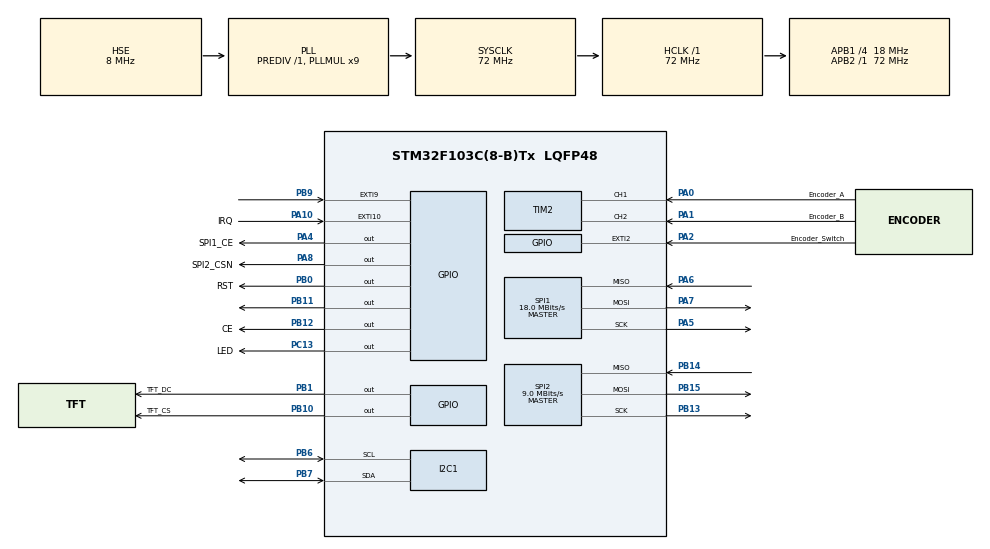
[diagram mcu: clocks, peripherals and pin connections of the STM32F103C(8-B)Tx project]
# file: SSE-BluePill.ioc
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I2C1.I2C_Mode=I2C_Fast
Mcu.Family=STM32F1
Mcu.Name=STM32F103C(8-B)Tx
Mcu.Package=LQFP48
NVIC.EXTI15_10_IRQn=true\:0\:0\:false\:false\:true\:true\:true\:true
NVIC.EXTI2_IRQn=true\:0\:0\:false\:false\:true\:true\:true\:true
NVIC.EXTI9_5_IRQn=true\:0\:0\:false\:false\:true\:true\:true\:true
NVIC.PriorityGroup=NVIC_PRIORITYGROUP_4
NVIC.TIM2_IRQn=true\:0\:0\:false\:false\:true\:true\:true\:true
NVIC.TIM3_IRQn=true\:0\:0\:true\:false\:true\:true\:true\:true
NVIC.TIM4_IRQn=true\:0\:0\:false\:false\:true\:true\:true\:true
PA0-WKUP.GPIO_Label=Encoder_A
PA0-WKUP.GPIO_PuPd=GPIO_PULLUP
PA0-WKUP.Signal=S_TIM2_CH1_ETR
PA1.GPIO_Label=Encoder_B
PA1.GPIO_PuPd=GPIO_PULLUP
PA1.Signal=S_TIM2_CH2
PA10.GPIO_Label=IRQ
PA10.GPIO_ModeDefaultEXTI=GPIO_MODE_IT_FALLING
PA10.Signal=GPXTI10
PA13.Mode=Serial_Wire
PA13.Signal=SYS_JTMS-SWDIO
PA14.Mode=Serial_Wire
PA14.Signal=SYS_JTCK-SWCLK
PA2.GPIO_Label=Encoder_Switch
PA2.GPIO_ModeDefaultEXTI=GPIO_MODE_IT_RISING_FALLING
PA2.GPIO_PuPd=GPIO_PULLUP
PA2.Signal=GPXTI2
PA4.GPIO_Label=SPI1_CE
PA4.GPIO_Speed=GPIO_SPEED_FREQ_HIGH
PA4.Signal=GPIO_Output
PA5.Mode=Full_Duplex_Master
PA5.Signal=SPI1_SCK
PA6.Mode=Full_Duplex_Master
PA6.Signal=SPI1_MISO
PA7.Mode=Full_Duplex_Master
PA7.Signal=SPI1_MOSI
PA8.GPIO_Label=SPI2_CSN
PA8.GPIO_Speed=GPIO_SPEED_FREQ_HIGH
PA8.PinState=GPIO_PIN_SET
PA8.Signal=GPIO_Output
PB0.GPIO_Label=RST
PB0.GPIO_Speed=GPIO_SPEED_FREQ_HIGH
PB0.PinState=GPIO_PIN_SET
PB0.Signal=GPIO_Output
PB1.GPIO_Label=TFT_DC
PB1.Signal=GPIO_Output
PB10.GPIO_Label=TFT_CS
PB10.Signal=GPIO_Output
PB11.GPIO_PuPd=GPIO_NOPULL
PB11.Signal=GPIO_Output
PB12.GPIO_Label=CE
PB12.GPIO_Speed=GPIO_SPEED_FREQ_HIGH
PB12.Signal=GPIO_Output
PB13.Mode=Full_Duplex_Master
PB13.Signal=SPI2_SCK
PB14.Mode=Full_Duplex_Master
PB14.Signal=SPI2_MISO
PB15.Mode=Full_Duplex_Master
PB15.Signal=SPI2_MOSI
PB6.Mode=I2C
PB6.Signal=I2C1_SCL
PB7.Mode=I2C
PB7.Signal=I2C1_SDA
PB9.GPIO_ModeDefaultEXTI=GPIO_MODE_IT_RISING_FALLING
PB9.Signal=GPXTI9
PC13-TAMPER-RTC.GPIO_Label=LED
PC13-TAMPER-RTC.Signal=GPIO_Output
PC14-OSC32_IN.Mode=LSE-External-Oscillator
PC14-OSC32_IN.Signal=RCC_OSC32_IN
PC15-OSC32_OUT.Mode=LSE-External-Oscillator
PC15-OSC32_OUT.Signal=RCC_OSC32_OUT
PD0-OSC_IN.Mode=HSE-External-Oscillator
PD0-OSC_IN.Signal=RCC_OSC_IN
PD1-OSC_OUT.Mode=HSE-External-Oscillator
PD1-OSC_OUT.Signal=RCC_OSC_OUT
ProjectManager.HeapSize=0x200
ProjectManager.StackSize=0x400
ProjectManager.TargetToolchain=STM32CubeIDE
RCC.AHBFreq_Value=72000000
RCC.APB1CLKDivider=RCC_HCLK_DIV4
RCC.APB1Freq_Value=18000000
RCC.APB1TimFreq_Value=36000000
RCC.APB2Freq_Value=72000000
RCC.APB2TimFreq_Value=72000000
RCC.HCLKFreq_Value=72000000
RCC.PLLMUL=RCC_PLL_MUL9
RCC.PLLSourceVirtual=RCC_PLLSOURCE_HSE
RCC.RTCClockSelection=RCC_RTCCLKSOURCE_LSE
RCC.SYSCLKFreq_VALUE=72000000
RCC.SYSCLKSource=RCC_SYSCLKSOURCE_PLLCLK
RCC.USBFreq_Value=72000000
SH.S_TIM2_CH1_ETR.0=TIM2_CH1,Encoder_Interface
SH.S_TIM2_CH2.0=TIM2_CH2,Encoder_Interface
SPI1.BaudRatePrescaler=SPI_BAUDRATEPRESCALER_4
SPI1.CalculateBaudRate=18.0 MBits/s
SPI1.Direction=SPI_DIRECTION_2LINES
SPI1.Mode=SPI_MODE_MASTER
SPI1.VirtualType=VM_MASTER
SPI2.CalculateBaudRate=9.0 MBits/s
SPI2.Direction=SPI_DIRECTION_2LINES
SPI2.Mode=SPI_MODE_MASTER
SPI2.VirtualType=VM_MASTER
TIM2.AutoReloadPreload=TIM_AUTORELOAD_PRELOAD_ENABLE
TIM2.EncoderMode=TIM_ENCODERMODE_TI12
TIM2.IC1Filter=10
TIM2.IC1Polarity=TIM_ICPOLARITY_RISING
TIM2.IC2Polarity=TIM_ICPOLARITY_RISING
TIM3.Period=36000 - 1
TIM3.Prescaler=0
TIM4.Period=30000
TIM4.Prescaler=36000 - 1
VP_TIM3_VS_ClockSourceINT.Mode=Internal
VP_TIM4_VS_ClockSourceINT.Mode=Internal
board=custom

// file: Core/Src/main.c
/* USER CODE BEGIN Header */
/**
  ******************************************************************************
  * @file           : main.c
  * @brief          : Main program body
  ******************************************************************************
  * @attention
  *
  * Copyright (c) 2024 STMicroelectronics.
  * All rights reserved.
  *
  * This software is licensed under terms that can be found in the LICENSE file
  * in the root directory of this software component.
  * If no LICENSE file comes with this software, it is provided AS-IS.
  *
  ******************************************************************************
  */
/* USER CODE END Header */
#include "main.h"
#include "i2c.h"
#include "spi.h"
#include "tim.h"
#include "gpio.h"

/* USER CODE BEGIN Includes */

#include "defines.h"
/* USER CODE END Includes */

/* USER CODE BEGIN PV */

uint8_t sNum[5];
uint16_t button=0;
static uint16_t milliseconds=0;
/* USER CODE END PV */

void SystemClock_Config(void);
/* USER CODE BEGIN PFP */
void received_message();
/* USER CODE END PFP */

/* USER CODE BEGIN 0 */
boolean RetFalse(){
	return False;
}

extern uint8_t rfidSymbol_idx;
extern uint8_t motionSymbol_idx;
/* USER CODE END 0 */

int main(void)
{

  /* MCU Configuration--------------------------------------------------------*/

  /* Reset of all peripherals, Initializes the Flash interface and the Systick. */
  HAL_Init();

  /* Configure the system clock */
  SystemClock_Config();

  /* Initialize all configured peripherals */
  MX_GPIO_Init();
  MX_TIM2_Init();
  MX_I2C1_Init();
  MX_SPI2_Init();
  MX_SPI1_Init();
  MX_TIM3_Init();
  MX_TIM4_Init();
  /* USER CODE BEGIN 2 */
  BSP_LCD_SetupParams_TypeDef lcd_params;
//  lcd_params.condition = BSP_HCSR501_Ready;
//  lcd_params.setup_time = (uint8_t) HCSR501_SETUP_SECONDS + HCSR501_SETUP_MINUTES*60;
//  lcd_params.seconds = &motion[4];
  lcd_params.condition = RetFalse;
  lcd_params.setup_time = 0;
  lcd_params.seconds = 0;

  BSP_ENCODER_Init();
  BSP_RC522_Init();
  BSP_LCD_Init(&lcd_params);

  BSP_RF_Params_TypeDef rf_params = {0};
  rf_params.channel = NRF24L01P_CHANNEL;
  rf_params.rate = NRF24L01P_RATE;
  rf_params.retransmit_count = NRF24L01P_RETRANSMIT_COUNT;
  BSP_RF_Init(&rf_params);
  BSP_RF_Listening();
  HAL_GPIO_WritePin(GPIOC, LED_Pin, GPIO_PIN_SET);
  NVIC_ClearPendingIRQ(EXTI15_10_IRQn);

  app_init();
  /* USER CODE END 2 */

  /* Infinite loop */
  /* USER CODE BEGIN WHILE */
  while (1)
  {
	  app();
    /* USER CODE END WHILE */

  }
}

void SystemClock_Config(void)
{
  RCC_OscInitTypeDef RCC_OscInitStruct = {0};
  RCC_ClkInitTypeDef RCC_ClkInitStruct = {0};

  /** Initializes the RCC Oscillators according to the specified parameters
  * in the RCC_OscInitTypeDef structure.
  */
  RCC_OscInitStruct.OscillatorType = RCC_OSCILLATORTYPE_HSE;
  RCC_OscInitStruct.HSEState = RCC_HSE_ON;
  RCC_OscInitStruct.HSEPredivValue = RCC_HSE_PREDIV_DIV1;
  RCC_OscInitStruct.HSIState = RCC_HSI_ON;
  RCC_OscInitStruct.PLL.PLLState = RCC_PLL_ON;
  RCC_OscInitStruct.PLL.PLLSource = RCC_PLLSOURCE_HSE;
  RCC_OscInitStruct.PLL.PLLMUL = RCC_PLL_MUL9;
  if (HAL_RCC_OscConfig(&RCC_OscInitStruct) != HAL_OK)
  {
    Error_Handler();
  }

  /** Initializes the CPU, AHB and APB buses clocks
  */
  RCC_ClkInitStruct.ClockType = RCC_CLOCKTYPE_HCLK|RCC_CLOCKTYPE_SYSCLK
                              |RCC_CLOCKTYPE_PCLK1|RCC_CLOCKTYPE_PCLK2;
  RCC_ClkInitStruct.SYSCLKSource = RCC_SYSCLKSOURCE_PLLCLK;
  RCC_ClkInitStruct.AHBCLKDivider = RCC_SYSCLK_DIV1;
  RCC_ClkInitStruct.APB1CLKDivider = RCC_HCLK_DIV4;
  RCC_ClkInitStruct.APB2CLKDivider = RCC_HCLK_DIV1;

  if (HAL_RCC_ClockConfig(&RCC_ClkInitStruct, FLASH_LATENCY_2) != HAL_OK)
  {
    Error_Handler();
  }
}

/* USER CODE BEGIN 4 */

void received_message()
{
	if(!BSP_RF_IrqHandler())
		return;
	HAL_GPIO_TogglePin(GPIOD, LED_Pin);
	APP_SETFLAG(MESSAGE_RECEIVED, true);
	HAL_GPIO_TogglePin(GPIOD, LED_Pin);
}
void HAL_GPIO_EXTI_Callback(uint16_t GPIO_Pin)
{
	static uint32_t last_interrupt_time = 0;

	if(GPIO_Pin == HCSR501_PIN){
		if(BSP_HCSR501_Ready()){

			SET_FIELD(GET_APP_DATA(), motion_status, BSP_HCSR501_Read());
			if(!GET_APP_DATA()->motion_status){
				APP_SETFLAG(UPDATE_MOTION, True);
			}

//				HAL_TIM_Base_Start_IT(&htim4);
//				BSP_HCSR501_OffTime();
		}
	}

    if (GPIO_Pin == Encoder_Switch_Pin) {
        uint32_t current_time = HAL_GetTick();

        // Check if the debounce delay has passed
        if ((current_time - last_interrupt_time) >= DEBOUNCE_DELAY) {
            last_interrupt_time = current_time; // Update last interrupt time

            // Check the encoder switch state and update flags
            if (BSP_ENCODER_GetSwitch() == GPIO_PIN_SET) {
                APP_SETFLAG(BUTTON_PRESSED, True);
            } else {
                APP_SETFLAG(BUTTON_PRESSED, False);
            }
        }
    }

	if(GPIO_Pin == NRF24L01P_IRQ_PIN_NUMBER)
	{
		received_message();
	}
}

void HAL_TIM_PeriodElapsedCallback(TIM_HandleTypeDef *htim){

	if(htim == &htim4){
		BSP_HCSR501_Init();
		HAL_TIM_Base_Stop_IT(&htim4);
		return;
	}

	milliseconds++;
	static uint16_t seconds = 0;
	static uint16_t milliseconds2 = 0;
	static uint16_t minutes = 0;
	static boolean triggered = False;
	static uint16_t button_held_counter = 0;
	static uint16_t button_held_cooldown_timer = 0;
	milliseconds2++;
	seconds += milliseconds2 / 1000;
	milliseconds2 %= 1000;
	minutes = seconds / 60;
	seconds %= 60;
	if(minutes >= HCSR501_SETUP_MINUTES && seconds >= HCSR501_SETUP_SECONDS && !triggered){
		BSP_HCSR501_Init();
		triggered = True;
	}

	BSP_Countdown();
	if(BSP_GetCounter() <= 0){
		APP_SETFLAG(IS_CARD_COOLDOWN, False);
		if(BSP_GetDisplay() == True){
			BSP_LCD_SendMessage("Lector", 0, 0, True);
			BSP_LCD_SendMessage("Disponible", 0, 1, False);
		}
		BSP_LCD_UPDATE_STATUS(rfidSymbol_idx, True);
	}
	if(BSP_GetCounter() == 5000 && BSP_GetDisplay()){
		BSP_LCD_SendMessage("Espera...", 0, 0, True);
	}

	BSP_Blink();

	if(milliseconds % (MOTION_ACTIVITY_RANGE_SECONDS * 1000) == 0){

		SET_FIELD(GET_APP_DATA(), motion_activity, GET_APP_DATA()->motion_status == 1 ? GET_APP_DATA()->motion_activity+1 : 0);
		if(GET_APP_DATA()->motion_activity == MOTION_ACTIVITY_MINIMUM){
			APP_SETFLAG(UPDATE_MOTION, True);
		}

	}

    if (GET_APP_FLAGS()->button_pressed) {
        button_held_counter++; // Increment the counter for button hold duration

        // Check if the button has been held long enough to be considered "held"
        if (button_held_counter >= CONFIG_MENU_BUTTON_DELAY_MS) {
            APP_SETFLAG(BUTTON_HELD, True);       // Mark as "held"
            APP_SETFLAG(BUTTON_PRESSED, False);    // Reset "pressed" flag
            APP_SETFLAG(BUTTON_ONLY_PRESSED, False); // Reset "only pressed" flag
            button_held_counter = 0; // Reset counter after confirming hold status
            button_held_cooldown_timer = BUTTON_HELD_COOLDOWN;
        }
        if(BSP_ENCODER_GetSwitch() == GPIO_PIN_RESET){
        	APP_SETFLAG(BUTTON_PRESSED, False);
        }
    } else {
        // If button was previously pressed and released quickly
        if (button_held_counter > 0 && button_held_counter < CONFIG_MENU_BUTTON_DELAY_MS) {
            // It was a short press, not held long enough
        	APP_SETFLAG(BUTTON_PRESSED, False);
            APP_SETFLAG(BUTTON_ONLY_PRESSED, True); // Mark as "only pressed"
            APP_SETFLAG(BUTTON_HELD, False);        // Ensure "held" is reset
            if(button_held_cooldown_timer != 0){
            	APP_SETFLAG(BUTTON_ONLY_PRESSED, False);
            }
        }
        button_held_counter = 0; // Reset counter since button is now released
    }
    if(button_held_cooldown_timer > 0){
        button_held_cooldown_timer--;
    }

}

uint16_t GetMS(void){
	return milliseconds;
}
/* USER CODE END 4 */

void Error_Handler(void)
{
  __disable_irq();
  while (1)
  {
  }
}
